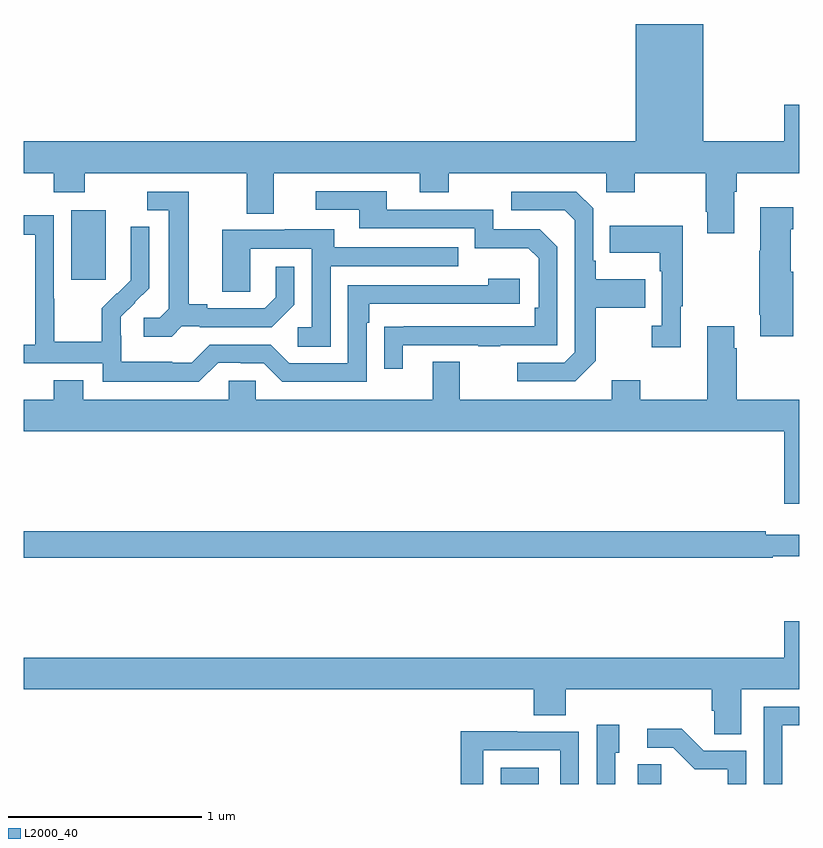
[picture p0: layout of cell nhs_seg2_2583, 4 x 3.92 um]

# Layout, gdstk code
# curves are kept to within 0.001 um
import gdstk
lib = gdstk.Library(unit=1e-6, precision=1e-09)
def R(c, l, rs):  # rectangles x0, y0, x1, y1
    for r in rs: c.add(gdstk.rectangle(r[:2], r[2:], *l))
def P(c, l, *ps):  # polygons
    for p in ps: c.add(gdstk.Polygon(p, *l))
L2000_40 = (2000, 40)

nhs_seg2_2583 = lib.new_cell('nhs_seg2_2583')
R(nhs_seg2_2583, L2000_40, [(247.46,661.8,247.657,661.885), (248.168,661.8,248.289,661.901), (245.243,664.401,245.422,664.762)])
P(nhs_seg2_2583, L2000_40, [(248.506,665.722),(248.156,665.722),(248.156,665.116),(245,665.116),(245,664.952),(245.153,664.952),(245.153,664.853),(245.313,664.853),(245.313,664.952),(246.149,664.952),(246.149,664.744),(246.289,664.744),(246.289,664.952),(247.043,664.952),(247.043,664.853),(247.191,664.853),(247.191,664.952),(248.004,664.952),(248.004,664.853),(248.151,664.853),(248.151,664.952),(248.518,664.952),(248.518,664.753),(248.525,664.753),(248.525,664.641),(248.665,664.641),(248.665,664.856),(248.678,664.856),(248.678,664.952),(249,664.952),(249,665.305),(248.924,665.305),(248.924,665.116),(248.506,665.116)],
  [(246.955,664.065),(247.345,664.065),(247.345,664.06),(247.457,664.06),(247.457,664.065),(247.752,664.065),(247.752,664.572),(247.662,664.662),(247.422,664.662),(247.422,664.764),(246.871,664.764),(246.871,664.86),(246.507,664.86),(246.507,664.764),(246.731,664.764),(246.731,664.668),(247.326,664.668),(247.326,664.565),(247.603,664.565),(247.656,664.512),(247.656,664.258),(247.636,664.258),(247.636,664.161),(246.859,664.16),(246.859,663.942),(246.955,663.942)],
  [(245.814,664.161),(245.908,664.161),(245.908,664.158),(246.28,664.158),(246.396,664.274),(246.396,664.468),(246.299,664.468),(246.299,664.311),(246.242,664.254),(245.947,664.254),(245.947,664.277),(245.851,664.277),(245.851,664.857),(245.637,664.857),(245.637,664.761),(245.747,664.761),(245.747,664.253),(245.7,664.206),(245.619,664.206),(245.619,664.109),(245.762,664.109)],
  [(247.951,663.985),(247.951,664.258),(248.207,664.258),(248.207,664.405),(247.951,664.405),(247.951,664.501),(247.938,664.501),(247.938,664.77),(247.851,664.857),(247.515,664.857),(247.515,664.761),(247.791,664.761),(247.842,664.71),(247.842,664.029),(247.788,663.975),(247.545,663.975),(247.545,663.879),(247.845,663.879)],
  [(248.969,664.443),(248.956,664.443),(248.956,664.664),(248.969,664.664),(248.969,664.777),(248.801,664.777),(248.801,664.553),(248.794,664.553),(248.794,664.222),(248.801,664.222),(248.801,664.11),(248.969,664.11)],
  [(246.003,663.975),(246.119,663.975),(246.119,663.972),(246.237,663.972),(246.333,663.876),(246.768,663.876),(246.768,664.181),(246.781,664.181),(246.781,664.278),(247.558,664.278),(247.558,664.408),(247.397,664.408),(247.397,664.374),(246.672,664.374),(246.672,663.972),(246.369,663.972),(246.273,664.068),(245.958,664.068),(245.865,663.975),(245.765,663.975),(245.765,663.979),(245.502,663.979),(245.502,664.113),(245.5,664.113),(245.5,664.21),(245.646,664.358),(245.646,664.676),(245.55,664.676),(245.55,664.522),(245.552,664.522),(245.552,664.4),(245.481,664.329),(245.478,664.332),(245.401,664.255),(245.401,664.081),(245.157,664.081),(245.157,664.304),(245.154,664.304),(245.154,664.734),(245,664.734),(245,664.635),(245.058,664.635),(245.058,664.068),(245,664.068),(245,663.972),(245.406,663.972),(245.406,663.875),(245.903,663.875)],
  [(248.389,664.265),(248.401,664.265),(248.401,664.681),(248.023,664.681),(248.023,664.541),(248.28,664.541),(248.28,664.445),(248.292,664.445),(248.292,664.166),(248.241,664.166),(248.241,664.053),(248.389,664.053)],
  [(246.582,664.473),(247.241,664.473),(247.241,664.569),(246.601,664.569),(246.601,664.663),(246.347,664.663),(246.347,664.659),(246.023,664.659),(246.023,664.339),(246.168,664.339),(246.168,664.563),(246.486,664.563),(246.486,664.158),(246.414,664.158),(246.414,664.057),(246.582,664.057)],
  [(249,663.784),(248.678,663.784),(248.678,664.049),(248.665,664.049),(248.665,664.162),(248.525,664.162),(248.525,663.784),(248.181,663.784),(248.181,663.883),(248.033,663.883),(248.033,663.784),(247.249,663.784),(247.249,663.979),(247.109,663.979),(247.109,663.784),(246.195,663.784),(246.195,663.882),(246.057,663.882),(246.057,663.784),(245.305,663.784),(245.305,663.883),(245.153,663.883),(245.153,663.784),(245,663.784),(245,663.62),(248.924,663.62),(248.924,663.246),(249,663.246)],
  [(248.864,662.976),(249,662.976),(249,663.085),(248.828,663.085),(248.828,663.104),(245,663.104),(245,662.968),(248.864,662.968)],
  [(248.701,662.288),(249,662.288),(249,662.641),(248.924,662.641),(248.924,662.452),(245,662.452),(245,662.288),(247.631,662.288),(247.631,662.155),(247.796,662.155),(247.796,662.288),(248.549,662.288),(248.549,662.179),(248.562,662.179),(248.562,662.056),(248.701,662.056)],
  [(248.913,662.103),(249,662.103),(249,662.199),(248.817,662.199),(248.817,661.8),(248.913,661.8)],
  [(248.052,661.962),(248.071,661.962),(248.071,662.107),(247.956,662.107),(247.956,661.8),(248.052,661.8)],
  [(248.727,661.971),(248.508,661.971),(248.395,662.084),(248.217,662.084),(248.217,661.986),(248.351,661.986),(248.462,661.875),(248.631,661.875),(248.631,661.8),(248.727,661.8)],
  [(247.371,661.974),(247.767,661.974),(247.767,661.8),(247.863,661.8),(247.863,662.07),(247.547,662.07),(247.547,662.072),(247.255,662.072),(247.255,661.8),(247.371,661.8)])

lib.write_gds('nhs_seg2_2583.gds')
